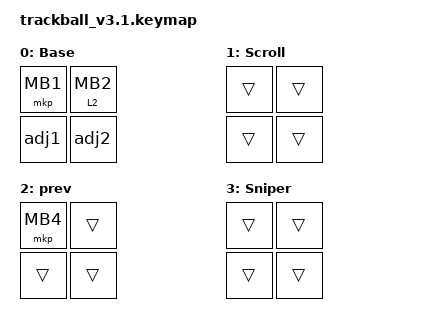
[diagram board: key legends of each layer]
#include "keys_ru.h"
#include <dt-bindings/zmk/input_transform.h>
#include <input/processors.dtsi>
#include <zephyr/dt-bindings/input/input-event-codes.h>
#include <dt-bindings/zmk/matrix_transform.h>
#include <scroll-snap.dtsi>
#include <behaviors.dtsi>
#include <dt-bindings/zmk/bt.h>
#include <dt-bindings/zmk/pointing.h>

/ {
    default_transform: keymap_transform_0 {
        compatible = "zmk,matrix-transform";
        columns = <2>;
        rows = <2>;
        map = <
        RC(0,3) RC(0,2)
        RC(0,5) RC(0,4)
        >;
    };

    combos {
        compatible = "zmk,combos";

        mb3_scroll {
            bindings = <&ht_mo_mkp 1 MB3>;
            key-positions = <0 1>;
        };
    };

    behaviors {
        adj1: adj1 {
            compatible = "zmk,behavior-tap-dance";
            label = "ADJ1";
            #binding-cells = <0>;
            bindings = <&bt BT_SEL 0>, <&bt BT_CLR>;
        };

        adj2: adj2 {
            compatible = "zmk,behavior-tap-dance";
            label = "ADJ2";
            #binding-cells = <0>;
            bindings = <&bt BT_NXT>, <&bt BT_CLR_ALL>;
        };

        ht_mo_mkp: ht_mo_mkp {
            compatible = "zmk,behavior-hold-tap";
            label = "HT_MO_MKP";
            bindings = <&mo>, <&mkp>;

            #binding-cells = <2>;
            tapping-term-ms = <200>;
            hold-while-undecided;
            hold-while-undecided-linger;
        };

        td_mb2_prev: td_mb2_prev {
            compatible = "zmk,behavior-tap-dance";
            label = "TD_MB2_PREV";
            #binding-cells = <0>;
            bindings = <&mkp MB2>, <&mkp MB4>;
        };

        ht_mkp_mkp: ht_mkp_mkp {
            compatible = "zmk,behavior-hold-tap";
            label = "HT_MKP_MKP";
            bindings = <&mkp>, <&mkp>;

            #binding-cells = <2>;
            tapping-term-ms = <200>;
        };
    };

    keymap {
        compatible = "zmk,keymap";

        base {
            bindings = <
&mkp MB1  &ht_mo_mkp 2 MB2
&adj1     &adj2
            >;

            display-name = "Base";
        };

        scroll {
            bindings = <
&trans  &trans
&trans  &trans
            >;

            display-name = "Scroll";
        };

        prev {
            bindings = <
&mkp MB4  &trans
&trans    &trans
            >;
        };

        sniper {
            bindings = <
&trans  &trans
&trans  &trans
            >;

            display-name = "Sniper";
        };
    };
};

&trackball { cpi = <600>; };

&trackball_listener {
    input-processors = <&zip_xy_scaler 9 20>;

    scroller {
        layers = <1>;
        input-processors =
            <&zip_xy_transform INPUT_TRANSFORM_Y_INVERT>,
            <&zip_xy_scaler 1 32>,
            <&zip_xy_to_scroll_mapper &zip_scroll_snap>;
    };

    sniper {
        layers = <2>;
        input-processors = <&zip_xy_scaler 1 4>;
    };

    adjust {
        layers = <3>;
        input-processors = <&zip_xy_scaler 1 8>;
    };
};
